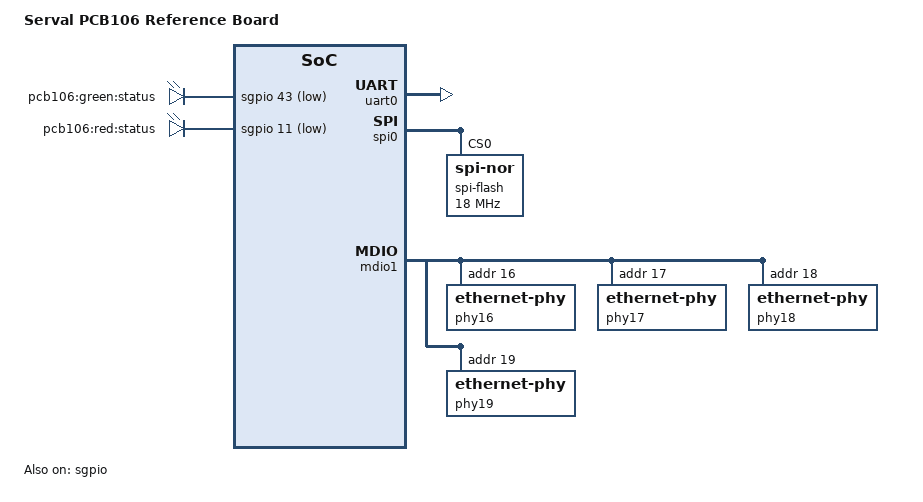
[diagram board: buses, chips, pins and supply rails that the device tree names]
// SPDX-License-Identifier: (GPL-2.0+ OR MIT)
/*
 * Copyright (c) 2018 Microsemi Corporation
 */

/dts-v1/;
#include "mscc,serval.dtsi"
#include <dt-bindings/mscc/serval_data.h>

/ {
	model = "Serval PCB106 Reference Board";
	compatible = "mscc,serval-pcb106", "mscc,serval";

	aliases {
		spi0 = &spi0;
		serial0 = &uart0;
	};

	chosen {
		stdout-path = "serial0:115200n8";
	};

	gpio-leds {
		compatible = "gpio-leds";

		status_green {
			label = "pcb106:green:status";
			gpios = <&sgpio 43 1>; /* p11.1 */
			default-state = "on";
		};

		status_red {
			label = "pcb106:red:status";
			gpios = <&sgpio 11 1>; /* p11.0 */
			default-state = "off";
		};
	};
};

&uart0 {
	status = "okay";
};

&spi0 {
	status = "okay";
	spi-flash@0 {
		compatible = "jedec,spi-nor";
		spi-max-frequency = <18000000>; /* input clock */
		reg = <0>; /* CS0 */
		spi-cs-high;
	};
};

&sgpio {
	status = "okay";
	sgpio-ports = <0x00FFFFFF>;
};

&mdio1 {
	status = "okay";

	phy16: ethernet-phy@16 {
		reg = <16>;
	};
	phy17: ethernet-phy@17 {
		reg = <17>;
	};
	phy18: ethernet-phy@18 {
		reg = <18>;
	};
	phy19: ethernet-phy@19 {
		reg = <19>;
	};
};

&switch {
	ethernet-ports {

		port0: port@0 {
			reg = <7>;
			phy-handle = <&phy16>;
			phys = <&serdes_hsio 7 SERDES1G(7) PHY_MODE_SGMII>;
		};
		port1: port@1 {
			reg = <6>;
			phy-handle = <&phy17>;
			phys = <&serdes_hsio 6 SERDES1G(6) PHY_MODE_SGMII>;
		};
		port2: port@2 {
			reg = <5>;
			phy-handle = <&phy18>;
			phys = <&serdes_hsio 5 SERDES1G(5) PHY_MODE_SGMII>;
		};
		port3: port@3 {
			reg = <4>;
			phy-handle = <&phy19>;
			phys = <&serdes_hsio 4 SERDES1G(4) PHY_MODE_SGMII>;
		};
	};
};
